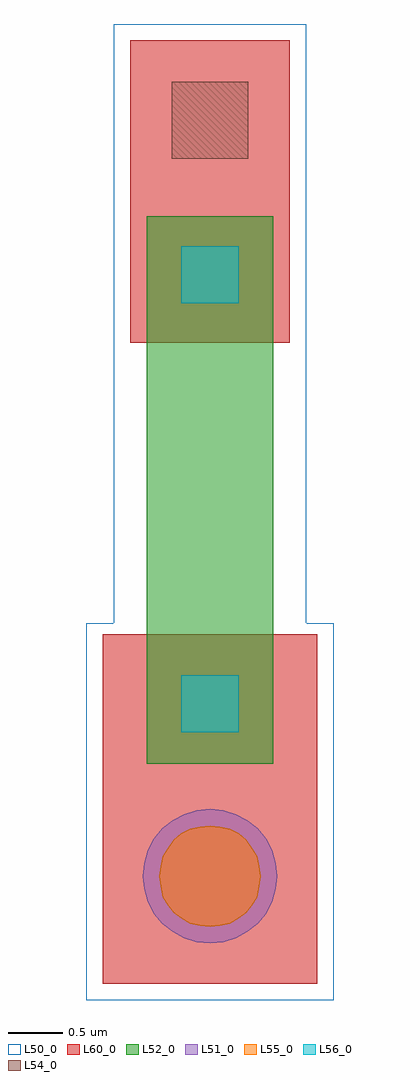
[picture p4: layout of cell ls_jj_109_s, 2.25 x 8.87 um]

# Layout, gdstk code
import gdstk
lib = gdstk.Library(unit=1e-6, precision=1e-09)
def R(c, l, rs):  # rectangles x0, y0, x1, y1
    for r in rs: c.add(gdstk.rectangle(r[:2], r[2:], *l))
def P(c, l, *ps):  # polygons
    for p in ps: c.add(gdstk.Polygon(p, *l))
L50_0 = (50, 0)
L51_0 = (51, 0)
L52_0 = (52, 0)
L54_0 = (54, 0)
L55_0 = (55, 0)
L56_0 = (56, 0)
L60_0 = (60, 0)

ls_jj_109_s = lib.new_cell('ls_jj_109_s')
R(ls_jj_109_s, L50_0, [(-1.125,-1.125,1.125,2.3), (-0.875,2.3,0.875,7.75)])
P(ls_jj_109_s, L51_0, [(0,-0.61),(0.12,-0.6),(0.235,-0.565),(0.34,-0.505),(0.435,-0.43),(0.51,-0.34),(0.565,-0.23),(0.6,-0.115),(0.61,0),(0.6,0.12),(0.565,0.235),(0.51,0.34),(0.435,0.435),(0.34,0.51),(0.235,0.565),(0.12,0.6),(0,0.615),(-0.12,0.6),(-0.235,0.565),(-0.34,0.51),(-0.435,0.435),(-0.51,0.34),(-0.565,0.235),(-0.6,0.12),(-0.61,0),(-0.6,-0.115),(-0.565,-0.23),(-0.51,-0.34),(-0.435,-0.43),(-0.34,-0.505),(-0.235,-0.565),(-0.12,-0.6)])
R(ls_jj_109_s, L52_0, [(-0.575,1.025,0.575,6)])
R(ls_jj_109_s, L54_0, [(-0.35,6.525,0.35,7.225)])
P(ls_jj_109_s, L55_0, [(0,-0.46),(0.09,-0.45),(0.18,-0.43),(0.26,-0.38),(0.33,-0.33),(0.38,-0.27),(0.43,-0.19),(0.45,-0.09),(0.46,0),(0.45,0.09),(0.43,0.18),(0.38,0.26),(0.33,0.33),(0.26,0.39),(0.18,0.43),(0.09,0.45),(0,0.46),(-0.09,0.45),(-0.18,0.43),(-0.26,0.39),(-0.33,0.33),(-0.38,0.26),(-0.43,0.18),(-0.45,0.09),(-0.46,0),(-0.45,-0.09),(-0.43,-0.19),(-0.38,-0.27),(-0.33,-0.33),(-0.26,-0.38),(-0.18,-0.43),(-0.09,-0.45)])
R(ls_jj_109_s, L56_0, [(-0.26,1.31,0.26,1.83), (-0.26,5.21,0.26,5.73)])
R(ls_jj_109_s, L60_0, [(-0.975,-0.975,0.975,2.2), (-0.725,4.85,0.725,7.6)])

lib.write_gds('ls_jj_109_s.gds')
